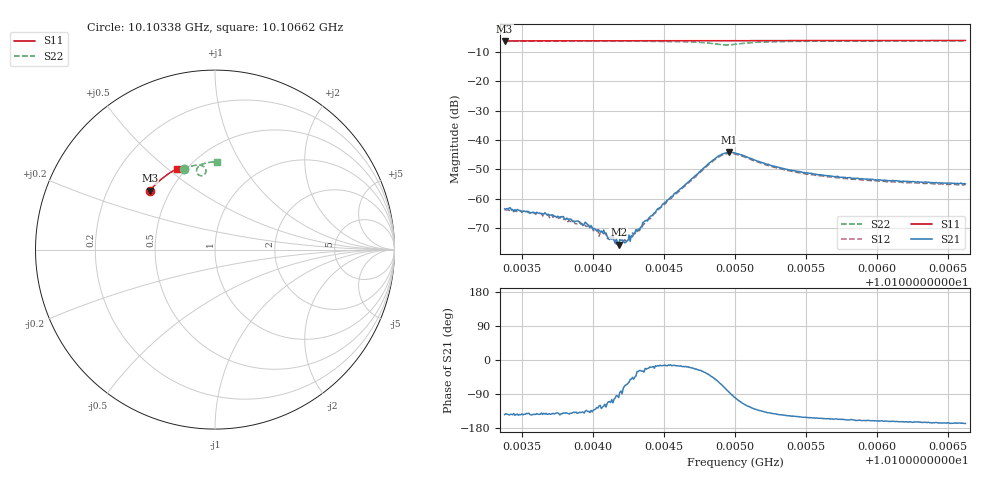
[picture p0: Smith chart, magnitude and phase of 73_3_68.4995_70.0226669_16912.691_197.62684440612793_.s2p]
#  HZ  S  RI  R  50.00
! Rohde & Schwarz Vector Network Analyzer
! Rohde-Schwarz,ZNB20-2Port,1311601062101988,3.16
! Created: UTC 3/20/2024, 4:51:50 PM
! freq[Hz]  re:S11  im:S11  re:S21  im:S21  re:S12  im:S12  re:S22  im:S22
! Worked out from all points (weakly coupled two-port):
!   401 points, 10.10338 GHz to 10.10662 GHz, reference 50 ohm
!   highest |S21| = -44.26 dB at 10.10496 GHz (marker M1); lowest = -75.7 dB at 10.10418 GHz (marker M2)
!   lowest |S11| = -6.2 dB at 10.10338 GHz (marker M3), VSWR 2.92, Z = 19.3 + j16.7 ohm
!   |S11| at or under -10 dB: nowhere
!   |S22| runs from -7.6 to -6.2 dB; largest |S21 - S12| = 0.00063
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1.0103375e10  -0.3635 0.3276  -0.000542 -0.000393  -0.000478 -0.000427  -0.1751 0.449
1.0103619e10  -0.3541 0.3391  -0.000453 -0.000335  -0.000416 -0.000363  -0.1597 0.4553
1.0103773e10  -0.3478 0.346  -0.000388 -0.000304  -0.000336 -0.000324  -0.1496 0.459
1.010392e10  -0.3416 0.3527  -0.000269 -0.000245  -0.000252 -0.000274  -0.1396 0.4623
1.0103952e10  -0.3403 0.354  -0.000257 -0.000276  -0.000221 -0.000251  -0.1373 0.4631
1.0104025e10  -0.3373 0.3573  -0.000162 -0.000229  -0.000141 -0.000235  -0.132 0.4645
1.0104074e10  -0.3353 0.3594  -0.000152 -0.000247  -0.000124 -0.00022  -0.1285 0.4656
1.0104114e10  -0.3334 0.3611  -6.71e-05 -0.000188  -8.3e-05 -0.000201  -0.1255 0.4664
1.0104147e10  -0.3323 0.3625  -4.64e-05 -0.000191  -3.7e-05 -0.000188  -0.123 0.4669
1.0104163e10  -0.3314 0.3632  -1.41e-05 -0.000208  2.86e-05 -0.000164  -0.1218 0.4672
1.0104179e10  -0.3306 0.3638  -2.55e-05 -0.000162  9.63e-06 -0.000171  -0.1205 0.4675
1.0104244e10  -0.3278 0.3668  9.03e-05 -0.000169  0.00013 -0.000168  -0.1155 0.4687
1.0104334e10  -0.324 0.3704  0.000288 -0.000151  0.000288 -0.000138  -0.1079 0.4701
1.0104464e10  -0.318 0.3759  0.00066 -0.000187  0.000653 -9.12e-05  -0.0956 0.4711
1.0104829e10  -0.3014 0.3903  0.00312 -0.00286  0.00325 -0.00243  -0.0506 0.4412
1.0104894e10  -0.2981 0.3927  0.0026 -0.00482  0.00291 -0.0044  -0.0567 0.4208
1.0104959e10  -0.2954 0.395  0.000489 -0.00611  0.000988 -0.0058  -0.0796 0.4117
1.0105e10  -0.2937 0.3966  -0.000972 -0.00591  -0.000421 -0.00573  -0.0932 0.4174
1.0105268e10  -0.281 0.407  -0.00282 -0.00223  -0.0025 -0.00238  -0.0891 0.4655
1.0105544e10  -0.2674 0.4169  -0.00239 -0.00123  -0.00216 -0.00137  -0.0642 0.4785
1.0106088e10  -0.2399 0.4348  -0.00192 -0.000622  -0.00178 -0.00078  -0.0236 0.4867
1.0106624e10  -0.2114 0.4508  -0.00174 -0.000385  -0.00165 -0.000532  0.0129 0.4889
